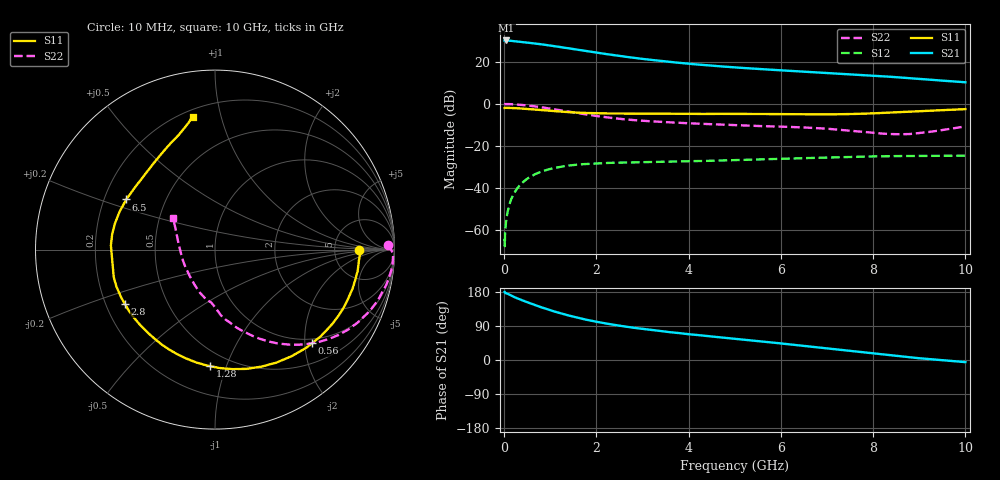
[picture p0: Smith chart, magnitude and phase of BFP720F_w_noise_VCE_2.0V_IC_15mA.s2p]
! Infineon Technologies  Discrete & RF Semiconductors
! BFP720F
! VCE =  2.0 V,  IC =  15 mA
! Common Emitter S-Parameters:  Jan 2016
# GHz  S  MA  R  50
!  f  S11  S21  S12  S22
! GHz  MAG  ANG  MAG  ANG  MAG  ANG  MAG  ANG
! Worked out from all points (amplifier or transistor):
!   233 points, 10 MHz to 10 GHz, reference 50 ohm
!   highest |S21| = 30.3 dB at 50 MHz (marker M1)
!   |S21| within 3 dB of that: start of sweep to 1.172 GHz
!   unconditionally stable (mu >= 1): start of sweep to 15.28 MHz; 6.128 GHz to end of sweep
!   at 200 MHz: K = 0.08, MSG = 36.6 dB, |S12| = -43.2 dB
!   at 1.74 GHz: K = 0.38, MSG = 27.1 dB, |S12| = -28.8 dB
!   at 10 GHz: K = 1.24, MAG = 14.6 dB, |S12| = -24.7 dB
!   lowest NFmin = 0.69 dB at 450 MHz
!   S11 on the Smith chart (normalised r, x): 10 MHz: 8.99, +0.00; 560 MHz: 0.90, -2.16; 1.28 GHz: 0.39, -0.88; 2.8 GHz: 0.28, -0.26; 6.5 GHz: 0.29, +0.24; 10 GHz: 0.24, +0.82
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0.01  0.7998 0.0  32.8 179.6  0.0006 -22.6  0.9651 1.6
0.02  0.809 -1.5  32.65 177.2  0.0008 95.9  0.9915 -1.1
0.05  0.8044 -4.1  32.84 176.3  0.0018 83.4  0.9928 -2.1
0.15  0.7998 -12.2  32.14 170.0  0.0052 84.6  0.9882 -7.1
0.24  0.7917 -19.4  31.34 165.0  0.0082 80.0  0.975 -11.3
0.42  0.7714 -33.4  29.79 156.1  0.0139 72.5  0.9383 -19.5
0.56  0.7512 -44.0  28.64 149.8  0.018 67.1  0.9029 -25.3
0.74  0.7239 -57.2  27.1 141.8  0.0226 60.7  0.8531 -32.5
0.9  0.7011 -68.5  25.72 135.2  0.0261 55.5  0.8044 -38.3
1.1  0.6733 -81.6  23.88 127.6  0.0297 49.7  0.7421 -45.0
1.28  0.6498 -92.5  22.31 121.3  0.0322 45.1  0.6877 -50.4
1.68  0.6135 -113.7  19.09 109.0  0.0361 36.9  0.5819 -60.7
1.92  0.6 -124.0  17.36 102.8  0.0376 33.1  0.5305 -65.8
2.2  0.5927 -133.8  15.61 96.5  0.0388 29.6  0.4821 -71.0
2.8  0.5856 -148.9  12.66 85.2  0.0401 24.9  0.4105 -79.0
3.4  0.586 -158.1  10.62 76.3  0.0414 22.3  0.3726 -84.1
4  0.5846 -164.8  9.121 68.1  0.0426 20.7  0.3447 -87.2
5.1  0.5781 170.0  7.334 54.7  0.0456 19.0  0.309 -91.7
6.5  0.5678 150.5  5.919 37.3  0.0507 16.2  0.2747 -102.1
6.8  0.5645 145.5  5.659 33.5  0.0517 15.3  0.263 -105.9
8.4  0.6242 116.3  4.435 12.3  0.0566 9.2  0.1906 -151.7
10  0.7511 99.6  3.293 -5.6  0.058 4.4  0.2906 143.2
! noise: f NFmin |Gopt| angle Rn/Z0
0.45  0.69  0.24  1  0.47
0.9  0.71  0.18  6  0.15
1.8  0.75  0.16  8  0.15
2.4  0.77  0.14  12  0.13
5.5  0.93  0.11  16  0.08
10  1.1  0.32  -85  0.21
